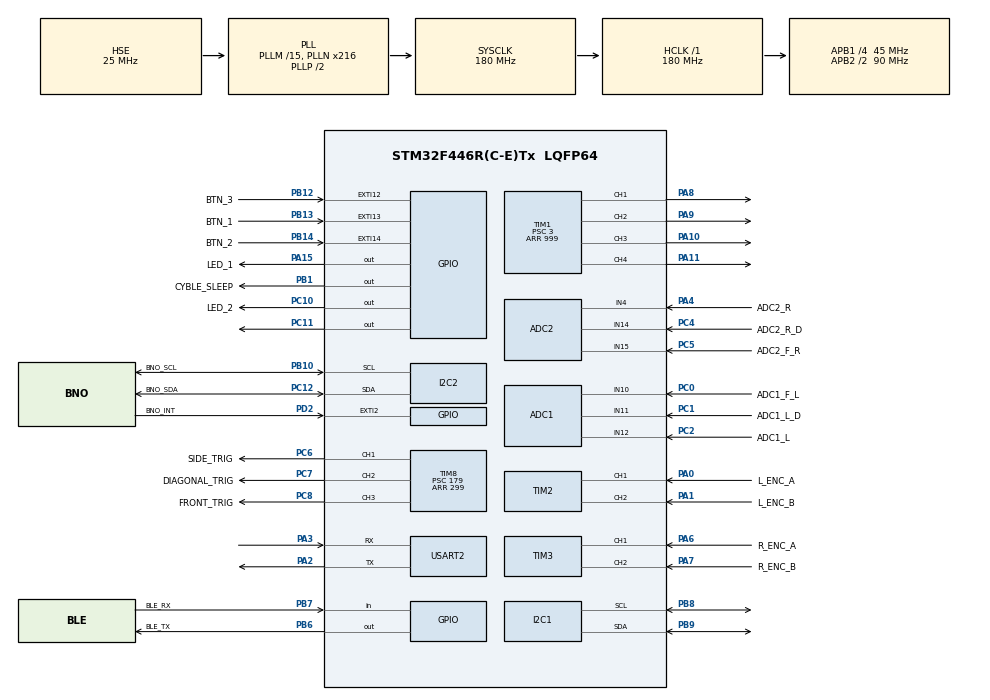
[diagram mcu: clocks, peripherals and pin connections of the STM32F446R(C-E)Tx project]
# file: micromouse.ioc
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ADC1.Channel-10\#ChannelRegularConversion=ADC_CHANNEL_11
ADC1.Channel-8\#ChannelRegularConversion=ADC_CHANNEL_10
ADC1.Channel-9\#ChannelRegularConversion=ADC_CHANNEL_12
ADC1.ClockPrescaler=ADC_CLOCK_SYNC_PCLK_DIV6
ADC1.DMAContinuousRequests=ENABLE
ADC1.DiscontinuousConvMode=ENABLE
ADC1.EOCSelection=ADC_EOC_SINGLE_CONV
ADC1.ExternalTrigConv=ADC_EXTERNALTRIGCONV_T8_TRGO
ADC1.Mode=ADC_DUALMODE_REGSIMULT
ADC1.NbrOfConversion=3
ADC1.NbrOfConversionFlag=1
ADC1.Rank-10\#ChannelRegularConversion=3
ADC1.Rank-8\#ChannelRegularConversion=1
ADC1.Rank-9\#ChannelRegularConversion=2
ADC1.SamplingTime-10\#ChannelRegularConversion=ADC_SAMPLETIME_15CYCLES
ADC1.SamplingTime-8\#ChannelRegularConversion=ADC_SAMPLETIME_15CYCLES
ADC1.SamplingTime-9\#ChannelRegularConversion=ADC_SAMPLETIME_15CYCLES
ADC1.master=1
ADC2.Channel-1\#ChannelRegularConversion=ADC_CHANNEL_15
ADC2.Channel-5\#ChannelRegularConversion=ADC_CHANNEL_4
ADC2.Channel-6\#ChannelRegularConversion=ADC_CHANNEL_14
ADC2.ClockPrescaler=ADC_CLOCK_SYNC_PCLK_DIV6
ADC2.DMAAccessMode=ADC_DMAACCESSMODE_2
ADC2.DiscontinuousConvMode=ENABLE
ADC2.EOCSelection=ADC_EOC_SINGLE_CONV
ADC2.Mode=ADC_DUALMODE_REGSIMULT
ADC2.NbrOfConversion=3
ADC2.NbrOfConversionFlag=1
ADC2.Rank-5\#ChannelRegularConversion=2
ADC2.Rank-6\#ChannelRegularConversion=3
ADC2.SamplingTime-1\#ChannelRegularConversion=ADC_SAMPLETIME_15CYCLES
ADC2.SamplingTime-5\#ChannelRegularConversion=ADC_SAMPLETIME_15CYCLES
ADC2.SamplingTime-6\#ChannelRegularConversion=ADC_SAMPLETIME_15CYCLES
Dma.ADC1.0.Direction=DMA_PERIPH_TO_MEMORY
Dma.ADC1.0.FIFOMode=DMA_FIFOMODE_DISABLE
Dma.ADC1.0.Instance=DMA2_Stream0
Dma.ADC1.0.MemDataAlignment=DMA_MDATAALIGN_WORD
Dma.ADC1.0.MemInc=DMA_MINC_ENABLE
Dma.ADC1.0.Mode=DMA_CIRCULAR
Dma.ADC1.0.PeriphDataAlignment=DMA_PDATAALIGN_WORD
Dma.ADC1.0.PeriphInc=DMA_PINC_DISABLE
Dma.ADC1.0.Priority=DMA_PRIORITY_VERY_HIGH
Dma.Request0=ADC1
Dma.Request1=TIM8_CH4/TRIG/COM
Dma.TIM8_CH4/TRIG/COM.1.Direction=DMA_MEMORY_TO_PERIPH
Dma.TIM8_CH4/TRIG/COM.1.FIFOMode=DMA_FIFOMODE_DISABLE
Dma.TIM8_CH4/TRIG/COM.1.Instance=DMA2_Stream7
Dma.TIM8_CH4/TRIG/COM.1.MemDataAlignment=DMA_MDATAALIGN_HALFWORD
Dma.TIM8_CH4/TRIG/COM.1.MemInc=DMA_MINC_ENABLE
Dma.TIM8_CH4/TRIG/COM.1.Mode=DMA_CIRCULAR
Dma.TIM8_CH4/TRIG/COM.1.PeriphDataAlignment=DMA_PDATAALIGN_HALFWORD
Dma.TIM8_CH4/TRIG/COM.1.PeriphInc=DMA_PINC_DISABLE
Dma.TIM8_CH4/TRIG/COM.1.Priority=DMA_PRIORITY_VERY_HIGH
FREERTOS.Queues01=LoggingQueue,16,uint16_t,0,Dynamic,NULL,NULL
FREERTOS.Tasks01=defaultTask,24,512,StartDefaultTask,Default,NULL,Dynamic,NULL,NULL;AlgorithimTask,48,1024,algorithimTask,Default,NULL,Static,algorithim_taskBuffer,algorithim_taskControlBlock;ControlTask,55,512,controlTask,Default,NULL,Static,MotorControlTaskBuffer,MotorControlTaskControlBlock;MotionTask,48,512,motionTask,Default,NULL,Static,PurepursuitTaskBuffer,PurepursuitTaskControlBlock;BnoTask,48,512,bnoTask,Default,NULL,Dynamic,NULL,NULL;HMITask,24,512,HMIConfigTask,Default,NULL,Dynamic,NULL,NULL;LoggerTask,16,512,loggerTask,Default,NULL,Dynamic,NULL,NULL
FREERTOS.configENABLE_FPU=1
I2C1.I2C_Mode=I2C_Fast
I2C2.I2C_Mode=I2C_Fast
Mcu.Family=STM32F4
Mcu.Name=STM32F446R(C-E)Tx
Mcu.Package=LQFP64
NVIC.DMA2_Stream0_IRQn=true\:5\:0\:false\:false\:true\:true\:false\:true\:true
NVIC.DMA2_Stream7_IRQn=true\:5\:0\:false\:false\:true\:true\:false\:true\:true
NVIC.EXTI15_10_IRQn=true\:5\:0\:false\:false\:true\:true\:true\:true\:true
NVIC.PriorityGroup=NVIC_PRIORITYGROUP_4
NVIC.TIM7_IRQn=true\:15\:0\:false\:false\:true\:false\:false\:true\:true
NVIC.TimeBase=TIM7_IRQn
NVIC.TimeBaseIP=TIM7
PA0-WKUP.GPIO_Label=L_ENC_A
PA0-WKUP.Signal=S_TIM2_CH1_ETR
PA1.GPIO_Label=L_ENC_B
PA1.Signal=S_TIM2_CH2
PA10.GPIO_ModeDefaultPP=GPIO_MODE_AF_PP
PA10.GPIO_PuPd=GPIO_NOPULL
PA10.GPIO_Speed=GPIO_SPEED_FREQ_LOW
PA10.Signal=S_TIM1_CH3
PA11.GPIO_ModeDefaultPP=GPIO_MODE_AF_PP
PA11.GPIO_PuPd=GPIO_NOPULL
PA11.GPIO_Speed=GPIO_SPEED_FREQ_LOW
PA11.Signal=S_TIM1_CH4
PA13.Mode=Serial_Wire
PA13.Signal=SYS_JTMS-SWDIO
PA14.Mode=Serial_Wire
PA14.Signal=SYS_JTCK-SWCLK
PA15.GPIO_Label=LED_1
PA15.Signal=GPIO_Output
PA2.Mode=Asynchronous
PA2.Signal=USART2_TX
PA3.Mode=Asynchronous
PA3.Signal=USART2_RX
PA4.GPIO_Label=ADC2_R
PA4.Signal=ADCx_IN4
PA6.GPIO_Label=R_ENC_A
PA6.GPIO_PuPd=GPIO_NOPULL
PA6.Signal=S_TIM3_CH1
PA7.GPIO_Label=R_ENC_B
PA7.GPIO_PuPd=GPIO_NOPULL
PA7.Signal=S_TIM3_CH2
PA8.GPIO_ModeDefaultPP=GPIO_MODE_AF_PP
PA8.GPIO_PuPd=GPIO_NOPULL
PA8.GPIO_Speed=GPIO_SPEED_FREQ_LOW
PA8.Signal=S_TIM1_CH1
PA9.GPIO_ModeDefaultPP=GPIO_MODE_AF_PP
PA9.GPIO_PuPd=GPIO_NOPULL
PA9.GPIO_Speed=GPIO_SPEED_FREQ_LOW
PA9.Signal=S_TIM1_CH2
PB1.GPIO_Label=CYBLE_SLEEP
PB1.Signal=GPIO_Output
PB10.GPIO_Label=BNO_SCL
PB10.Mode=I2C
PB10.Signal=I2C2_SCL
PB12.GPIO_Label=BTN_3
PB12.GPIO_ModeDefaultEXTI=GPIO_MODE_IT_FALLING
PB12.GPIO_PuPd=GPIO_PULLUP
PB12.Signal=GPXTI12
PB13.GPIO_Label=BTN_1
PB13.GPIO_ModeDefaultEXTI=GPIO_MODE_IT_FALLING
PB13.GPIO_PuPd=GPIO_PULLUP
PB13.Signal=GPXTI13
PB14.GPIO_Label=BTN_2
PB14.GPIO_ModeDefaultEXTI=GPIO_MODE_IT_FALLING
PB14.GPIO_PuPd=GPIO_PULLUP
PB14.Signal=GPXTI14
PB3.Signal=SYS_JTDO-SWO
PB6.GPIO_Label=BLE_TX
PB6.Signal=GPIO_Output
PB7.GPIO_Label=BLE_RX
PB7.Signal=GPIO_Input
PB8.Mode=I2C
PB8.Signal=I2C1_SCL
PB9.Mode=I2C
PB9.Signal=I2C1_SDA
PC0.GPIO_Label=ADC1_F_L
PC0.Signal=ADCx_IN10
PC1.GPIO_Label=ADC1_L_D
PC1.Signal=ADCx_IN11
PC10.GPIO_Label=LED_2
PC10.Signal=GPIO_Output
PC11.Signal=GPIO_Output
PC12.GPIO_Label=BNO_SDA
PC12.Mode=I2C
PC12.Signal=I2C2_SDA
PC2.GPIO_Label=ADC1_L
PC2.Signal=ADCx_IN12
PC4.GPIO_Label=ADC2_R_D
PC4.Signal=ADCx_IN14
PC5.GPIO_Label=ADC2_F_R
PC5.Signal=ADCx_IN15
PC6.GPIO_Label=SIDE_TRIG
PC6.Signal=S_TIM8_CH1
PC7.GPIO_Label=DIAGONAL_TRIG
PC7.Signal=S_TIM8_CH2
PC8.GPIO_Label=FRONT_TRIG
PC8.Signal=S_TIM8_CH3
PD2.GPIO_Label=BNO_INT
PD2.Signal=GPXTI2
PH0-OSC_IN.Mode=HSE-External-Oscillator
PH0-OSC_IN.Signal=RCC_OSC_IN
PH1-OSC_OUT.Mode=HSE-External-Oscillator
PH1-OSC_OUT.Signal=RCC_OSC_OUT
ProjectManager.HeapSize=0x200
ProjectManager.StackSize=0x400
ProjectManager.TargetToolchain=CMake
RCC.AHBFreq_Value=180000000
RCC.APB1CLKDivider=RCC_HCLK_DIV4
RCC.APB1Freq_Value=45000000
RCC.APB1TimFreq_Value=90000000
RCC.APB2CLKDivider=RCC_HCLK_DIV2
RCC.APB2Freq_Value=90000000
RCC.APB2TimFreq_Value=180000000
RCC.CortexFreq_Value=180000000
RCC.HCLKFreq_Value=180000000
RCC.HSE_VALUE=25000000
RCC.PLLM=15
RCC.PLLN=216
RCC.PLLSourceVirtual=RCC_PLLSOURCE_HSE
RCC.SYSCLKFreq_VALUE=180000000
RCC.SYSCLKSource=RCC_SYSCLKSOURCE_PLLCLK
RCC.USBFreq_Value=180000000
RCC.VCOOutputFreq_Value=360000000
SH.ADCx_IN10.0=ADC1_IN10,IN10
SH.ADCx_IN11.0=ADC1_IN11,IN11
SH.ADCx_IN12.0=ADC1_IN12,IN12
SH.ADCx_IN14.0=ADC2_IN14,IN14
SH.ADCx_IN15.0=ADC2_IN15,IN15
SH.ADCx_IN4.0=ADC2_IN4,IN4
SH.S_TIM1_CH1.0=TIM1_CH1,PWM Generation1 CH1
SH.S_TIM1_CH2.0=TIM1_CH2,PWM Generation2 CH2
SH.S_TIM1_CH3.0=TIM1_CH3,PWM Generation3 CH3
SH.S_TIM1_CH4.0=TIM1_CH4,PWM Generation4 CH4
SH.S_TIM2_CH1_ETR.0=TIM2_CH1,Encoder_Interface
SH.S_TIM2_CH2.0=TIM2_CH2,Encoder_Interface
SH.S_TIM3_CH1.0=TIM3_CH1,Encoder_Interface
SH.S_TIM3_CH2.0=TIM3_CH2,Encoder_Interface
SH.S_TIM8_CH1.0=TIM8_CH1,PWM Generation1 CH1
SH.S_TIM8_CH2.0=TIM8_CH2,PWM Generation2 CH2
SH.S_TIM8_CH3.0=TIM8_CH3,PWM Generation3 CH3
TIM1.AutoReloadPreload=TIM_AUTORELOAD_PRELOAD_ENABLE
TIM1.Channel-PWM\ Generation1\ CH1=TIM_CHANNEL_1
TIM1.Channel-PWM\ Generation2\ CH2=TIM_CHANNEL_2
TIM1.Channel-PWM\ Generation3\ CH3=TIM_CHANNEL_3
TIM1.Channel-PWM\ Generation4\ CH4=TIM_CHANNEL_4
TIM1.Period=999
TIM1.Prescaler=3
TIM2.EncoderMode=TIM_ENCODERMODE_TI12
TIM2.IC2Polarity=TIM_ICPOLARITY_FALLING
TIM3.EncoderMode=TIM_ENCODERMODE_TI12
TIM3.IC1Polarity=TIM_ICPOLARITY_FALLING
TIM3.IC2Polarity=TIM_ICPOLARITY_FALLING
TIM4.AutoReloadPreload=TIM_AUTORELOAD_PRELOAD_ENABLE
TIM4.Period=999
TIM4.Prescaler=89
TIM4.TIM_MasterOutputTrigger=TIM_TRGO_UPDATE
TIM4.TIM_MasterSlaveMode=TIM_MASTERSLAVEMODE_ENABLE
TIM5.Prescaler=89
TIM8.AutoReloadPreload=TIM_AUTORELOAD_PRELOAD_ENABLE
TIM8.Channel-PWM\ Generation1\ CH1=TIM_CHANNEL_1
TIM8.Channel-PWM\ Generation2\ CH2=TIM_CHANNEL_2
TIM8.Channel-PWM\ Generation3\ CH3=TIM_CHANNEL_3
TIM8.Channel-PWM\ Generation4\ No\ Output=TIM_CHANNEL_4
TIM8.OCMode_PWM-PWM\ Generation4\ No\ Output=TIM_OCMODE_PWM2
TIM8.Period=299
TIM8.Prescaler=179
TIM8.Pulse-PWM\ Generation4\ No\ Output=60
TIM8.TIM_MasterOutputTrigger=TIM_TRGO_OC4REF
TIM8.TIM_MasterSlaveMode=TIM_MASTERSLAVEMODE_ENABLE
USART2.VirtualMode=VM_ASYNC
VP_FREERTOS_VS_CMSIS_V2.Mode=CMSIS_V2
VP_SYS_VS_tim7.Mode=TIM7
VP_TIM4_VS_ClockSourceINT.Mode=Internal
VP_TIM5_VS_ClockSourceINT.Mode=Internal
VP_TIM8_VS_ClockSourceINT.Mode=Internal
VP_TIM8_VS_ClockSourceITR.Mode=TriggerSource_ITR2
VP_TIM8_VS_ControllerModeTrigger.Mode=Trigger Mode
VP_TIM8_VS_no_output4.Mode=PWM Generation4 No Output
board=custom

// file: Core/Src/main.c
/* USER CODE BEGIN Header */
/**
  ******************************************************************************
  * @file           : main.c
  * @brief          : Main program body
  ******************************************************************************
  * @attention
  *
  * Copyright (c) 2026 STMicroelectronics.
  * All rights reserved.
  *
  * This software is licensed under terms that can be found in the LICENSE file
  * in the root directory of this software component.
  * If no LICENSE file comes with this software, it is provided AS-IS.
  *
  ******************************************************************************
  */
/* USER CODE END Header */
#include "main.h"
#include "cmsis_os.h"
#include "adc.h"
#include "dma.h"
#include "i2c.h"
#include "tim.h"
#include "usart.h"
#include "gpio.h"

void SystemClock_Config(void);
void MX_FREERTOS_Init(void);

int main(void)
{

  /* MCU Configuration--------------------------------------------------------*/

  /* Reset of all peripherals, Initializes the Flash interface and the Systick. */
  HAL_Init();

  /* Configure the system clock */
  SystemClock_Config();

  /* Initialize all configured peripherals */
  MX_GPIO_Init();
  MX_DMA_Init();
  MX_I2C1_Init();
  MX_I2C2_Init();
  MX_TIM2_Init();
  MX_TIM3_Init();
  MX_TIM4_Init();
  MX_USART2_UART_Init();
  MX_TIM8_Init();
  MX_TIM1_Init();
  MX_ADC1_Init();
  MX_ADC2_Init();
  MX_TIM5_Init();
  /* USER CODE BEGIN 2 */
  app_main();
  /* USER CODE END 2 */

  /* Init scheduler */
  osKernelInitialize();  /* Call init function for freertos objects (in cmsis_os2.c) */
  MX_FREERTOS_Init();

  /* Start scheduler */
  osKernelStart();

  /* We should never get here as control is now taken by the scheduler */

  /* Infinite loop */
  while (1)
  {

  }
}

void SystemClock_Config(void)
{
  RCC_OscInitTypeDef RCC_OscInitStruct = {0};
  RCC_ClkInitTypeDef RCC_ClkInitStruct = {0};

  /** Configure the main internal regulator output voltage
  */
  __HAL_RCC_PWR_CLK_ENABLE();
  __HAL_PWR_VOLTAGESCALING_CONFIG(PWR_REGULATOR_VOLTAGE_SCALE1);

  /** Initializes the RCC Oscillators according to the specified parameters
  * in the RCC_OscInitTypeDef structure.
  */
  RCC_OscInitStruct.OscillatorType = RCC_OSCILLATORTYPE_HSE;
  RCC_OscInitStruct.HSEState = RCC_HSE_ON;
  RCC_OscInitStruct.PLL.PLLState = RCC_PLL_ON;
  RCC_OscInitStruct.PLL.PLLSource = RCC_PLLSOURCE_HSE;
  RCC_OscInitStruct.PLL.PLLM = 15;
  RCC_OscInitStruct.PLL.PLLN = 216;
  RCC_OscInitStruct.PLL.PLLP = RCC_PLLP_DIV2;
  RCC_OscInitStruct.PLL.PLLQ = 2;
  RCC_OscInitStruct.PLL.PLLR = 2;
  if (HAL_RCC_OscConfig(&RCC_OscInitStruct) != HAL_OK)
  {
    Error_Handler();
  }

  /** Activate the Over-Drive mode
  */
  if (HAL_PWREx_EnableOverDrive() != HAL_OK)
  {
    Error_Handler();
  }

  /** Initializes the CPU, AHB and APB buses clocks
  */
  RCC_ClkInitStruct.ClockType = RCC_CLOCKTYPE_HCLK|RCC_CLOCKTYPE_SYSCLK
                              |RCC_CLOCKTYPE_PCLK1|RCC_CLOCKTYPE_PCLK2;
  RCC_ClkInitStruct.SYSCLKSource = RCC_SYSCLKSOURCE_PLLCLK;
  RCC_ClkInitStruct.AHBCLKDivider = RCC_SYSCLK_DIV1;
  RCC_ClkInitStruct.APB1CLKDivider = RCC_HCLK_DIV4;
  RCC_ClkInitStruct.APB2CLKDivider = RCC_HCLK_DIV2;

  if (HAL_RCC_ClockConfig(&RCC_ClkInitStruct, FLASH_LATENCY_5) != HAL_OK)
  {
    Error_Handler();
  }
}

void HAL_TIM_PeriodElapsedCallback(TIM_HandleTypeDef *htim)
{
  if (htim->Instance == TIM7)
  {
    HAL_IncTick();
  }
}

void Error_Handler(void)
{
  __disable_irq();
  while (1)
  {
  }
}

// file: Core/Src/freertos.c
/* USER CODE BEGIN Header */
/**
 ******************************************************************************
 * File Name          : freertos.c
 * Description        : Code for freertos applications
 ******************************************************************************
 * @attention
 *
 * Copyright (c) 2026 STMicroelectronics.
 * All rights reserved.
 *
 * This software is licensed under terms that can be found in the LICENSE file
 * in the root directory of this software component.
 * If no LICENSE file comes with this software, it is provided AS-IS.
 *
 ******************************************************************************
 */
/* USER CODE END Header */

#include "FreeRTOS.h"
#include "task.h"
#include "main.h"
#include "cmsis_os.h"

/* USER CODE BEGIN Includes */
#include "freertos.h"
#include "usart.h"
#include <stdarg.h>
#include <stdio.h>
#include <string.h>
/* USER CODE END Includes */

typedef StaticTask_t osStaticThreadDef_t;
/* USER CODE BEGIN PTD */

/* Maximum length of a single log message, storage for the "thing to be
 * printed" that is queued from the calling task up to the LoggerTask. */
#define LOG_MSG_MAX_LEN 64U

/* One entry stored in LoggingQueueHandle. Kept as a plain fixed-size struct
 * (no pointers) so producer tasks can safely queue-by-copy and immediately
 * reuse their own stack buffer. */
typedef struct
{
  char message[LOG_MSG_MAX_LEN];
} LogMessage_t;

/* One row of the "clipboard" that lets Logger_Print() rate-limit each
 * calling task independently, at that task's own requested frequency. */
typedef struct
{
  osThreadId_t taskId;      /* which task this row belongs to */
  uint32_t periodMs;        /* that task's own requested frequency */
  uint32_t nextAllowedTick; /* earliest tick this task is allowed to print again */
} LoggerSource_t;

/* USER CODE END PTD */

/* USER CODE BEGIN PD */

#define LOGGER_QUEUE_LENGTH 16U       /* entries held in LoggingQueue */
#define LOGGER_MAX_SOURCES 8U         /* distinct tasks Logger_Print can track at once */
#define LOGGER_UART_TX_TIMEOUT_MS 20U /* HAL_UART_Transmit timeout */

/* CYBLE_SLEEP_Pin drives the Bluetooth (Cypress BLE) module's sleep input.
 * NOTE: polarity assumed active-high = sleep, active-low = awake based on
 * the default GPIO_PIN_RESET init state in gpio.c. Verify against your
 * module's datasheet and flip these two macros if it turns out inverted. */
#define BLE_SLEEP_ASSERT() HAL_GPIO_WritePin(CYBLE_SLEEP_GPIO_Port, CYBLE_SLEEP_Pin, GPIO_PIN_SET)
#define BLE_SLEEP_RELEASE() HAL_GPIO_WritePin(CYBLE_SLEEP_GPIO_Port, CYBLE_SLEEP_Pin, GPIO_PIN_RESET)

/* USER CODE END PD */

/* USER CODE BEGIN Variables */

/* Guards loggerActiveOutput / the UART peripherals it maps to, so
 * Logger_SetOutput() can't race with LoggerTask mid-transmit. */
osMutexId_t LoggerConfigMutexHandle;

/* Guards the loggerSources[] table below, since multiple producer tasks
 * can call Logger_Print() concurrently. */
osMutexId_t LoggerSourcesMutexHandle;

static volatile LogOutput_t loggerActiveOutput = LOG_OUTPUT_STLINK;
static volatile uint32_t loggerDroppedCount = 0U;

/* The "clipboard": one row per distinct task that has ever called
 * Logger_Print(), so each task's own requested frequency is remembered
 * and enforced independently of every other task's. */
static LoggerSource_t loggerSources[LOGGER_MAX_SOURCES];
static uint8_t loggerSourceCount = 0U;

/* USER CODE END Variables */
/* Definitions for defaultTask */
osThreadId_t defaultTaskHandle;
const osThreadAttr_t defaultTask_attributes = {
  .name = "defaultTask",
  .stack_size = 512 * 4,
  .priority = (osPriority_t) osPriorityNormal,
};
/* Definitions for AlgorithimTask */
osThreadId_t AlgorithimTaskHandle;
uint32_t algorithim_taskBuffer[ 1024 ];
osStaticThreadDef_t algorithim_taskControlBlock;
const osThreadAttr_t AlgorithimTask_attributes = {
  .name = "AlgorithimTask",
  .cb_mem = &algorithim_taskControlBlock,
  .cb_size = sizeof(algorithim_taskControlBlock),
  .stack_mem = &algorithim_taskBuffer[0],
  .stack_size = sizeof(algorithim_taskBuffer),
  .priority = (osPriority_t) osPriorityRealtime,
};
/* Definitions for ControlTask */
osThreadId_t ControlTaskHandle;
uint32_t MotorControlTaskBuffer[ 512 ];
osStaticThreadDef_t MotorControlTaskControlBlock;
const osThreadAttr_t ControlTask_attributes = {
  .name = "ControlTask",
  .cb_mem = &MotorControlTaskControlBlock,
  .cb_size = sizeof(MotorControlTaskControlBlock),
  .stack_mem = &MotorControlTaskBuffer[0],
  .stack_size = sizeof(MotorControlTaskBuffer),
  .priority = (osPriority_t) osPriorityRealtime7,
};
/* Definitions for MotionTask */
osThreadId_t MotionTaskHandle;
uint32_t PurepursuitTaskBuffer[ 512 ];
osStaticThreadDef_t PurepursuitTaskControlBlock;
const osThreadAttr_t MotionTask_attributes = {
  .name = "MotionTask",
  .cb_mem = &PurepursuitTaskControlBlock,
  .cb_size = sizeof(PurepursuitTaskControlBlock),
  .stack_mem = &PurepursuitTaskBuffer[0],
  .stack_size = sizeof(PurepursuitTaskBuffer),
  .priority = (osPriority_t) osPriorityRealtime,
};
/* Definitions for BnoTask */
osThreadId_t BnoTaskHandle;
const osThreadAttr_t BnoTask_attributes = {
  .name = "BnoTask",
  .stack_size = 512 * 4,
  .priority = (osPriority_t) osPriorityRealtime,
};
/* Definitions for HMITask */
osThreadId_t HMITaskHandle;
const osThreadAttr_t HMITask_attributes = {
  .name = "HMITask",
  .stack_size = 512 * 4,
  .priority = (osPriority_t) osPriorityNormal,
};
/* Definitions for LoggerTask */
osThreadId_t LoggerTaskHandle;
const osThreadAttr_t LoggerTask_attributes = {
  .name = "LoggerTask",
  .stack_size = 512 * 4,
  .priority = (osPriority_t) osPriorityBelowNormal,
};
/* Definitions for LoggingQueue */
osMessageQueueId_t LoggingQueueHandle;
const osMessageQueueAttr_t LoggingQueue_attributes = {
  .name = "LoggingQueue"
};

/* USER CODE BEGIN FunctionPrototypes */

static void Logger_ActivateOutput(LogOutput_t output);
static void Logger_DeactivateOutput(LogOutput_t output);
static void Logger_TransmitMessage(LogOutput_t output, const LogMessage_t *msg);
static LoggerSource_t *Logger_FindOrCreateSource(osThreadId_t taskId, uint32_t period_ms);

/* USER CODE END FunctionPrototypes */

void StartDefaultTask(void *argument);
void algorithimTask(void *argument);
void controlTask(void *argument);
void motionTask(void *argument);
void bnoTask(void *argument);
void HMIConfigTask(void *argument);
void loggerTask(void *argument);

void MX_FREERTOS_Init(void); /* (MISRA C 2004 rule 8.1) */

void MX_FREERTOS_Init(void) {

  /* USER CODE BEGIN RTOS_MUTEX */
  /* add mutexes, ... */
  LoggerConfigMutexHandle = osMutexNew(NULL);
  LoggerSourcesMutexHandle = osMutexNew(NULL);
  /* USER CODE END RTOS_MUTEX */

  /* Create the queue(s) */
  /* creation of LoggingQueue */
  LoggingQueueHandle = osMessageQueueNew (16, sizeof(uint16_t), &LoggingQueue_attributes);

  /* Create the thread(s) */
  /* creation of defaultTask */
  defaultTaskHandle = osThreadNew(StartDefaultTask, NULL, &defaultTask_attributes);

  /* creation of AlgorithimTask */
  AlgorithimTaskHandle = osThreadNew(algorithimTask, NULL, &AlgorithimTask_attributes);

  /* creation of ControlTask */
  ControlTaskHandle = osThreadNew(controlTask, NULL, &ControlTask_attributes);

  /* creation of MotionTask */
  MotionTaskHandle = osThreadNew(motionTask, NULL, &MotionTask_attributes);

  /* creation of BnoTask */
  BnoTaskHandle = osThreadNew(bnoTask, NULL, &BnoTask_attributes);

  /* creation of HMITask */
  HMITaskHandle = osThreadNew(HMIConfigTask, NULL, &HMITask_attributes);

  /* creation of LoggerTask */
  LoggerTaskHandle = osThreadNew(loggerTask, NULL, &LoggerTask_attributes);

}

void StartDefaultTask(void *argument)
{
  /* USER CODE BEGIN StartDefaultTask */
  StartDefaultTask_run(argument);
  /* USER CODE END StartDefaultTask */
}

void algorithimTask(void *argument)
{
  /* USER CODE BEGIN algorithimTask */
  // algorithmTask_run(argument);
  for (;;)
    ulTaskNotifyTake(pdTRUE, portMAX_DELAY);
  /* USER CODE END algorithimTask */
}

void controlTask(void *argument)
{
  /* USER CODE BEGIN controlTask */
  controlTask_run(argument);
  /* USER CODE END controlTask */
}

void motionTask(void *argument)
{
  /* USER CODE BEGIN motionTask */
  motionTask_run(argument);
  // for (;;)
  // {
  //   // ulTaskNotifyTake(pdTRUE, portMAX_DELAY);
  //   // vTaskDelayUntil(&last, pdMS_TO_TICKS(5));
  //   // motor_speeds(100, 100);
  // }
  /* USER CODE END motionTask */
}

void bnoTask(void *argument)
{
  /* USER CODE BEGIN bnoTask */
  bnoTask_run(argument);
  // for (;;)
  //   ulTaskNotifyTake(pdTRUE, portMAX_DELAY);
  /* USER CODE END bnoTask */
}

void HMIConfigTask(void *argument)
{
  /* USER CODE BEGIN HMIConfigTask */
  /* Infinite loop */
   HMIConfigTask_run(argument);
  /* USER CODE END HMIConfigTask */
}

void loggerTask(void *argument)
{
  /* USER CODE BEGIN loggerTask */
  loggerTask_run(argument);
  // for (;;)
  //   ulTaskNotifyTake(pdTRUE, portMAX_DELAY);
  /* USER CODE END loggerTask */
}

/* USER CODE BEGIN Application */

/**
 * @brief  Powers up / wakes the given output peripheral.
 * @note   USB is stubbed out: this project has no USB_DEVICE middleware
 *         yet (no CDC class configured in CubeMX). Add USB_OTG_FS +
 *         USB_DEVICE(CDC) via CubeMX, generate MX_USB_DEVICE_Init(), then
 *         call it here.
 */
/*static*/ void Logger_ActivateOutput(LogOutput_t output)
{
  switch (output)
  {
  case LOG_OUTPUT_STLINK:
    MX_USART2_UART_Init();
    break;

  case LOG_OUTPUT_BLUETOOTH:
    MX_UART4_Init();
    BLE_SLEEP_RELEASE();
    break;

  case LOG_OUTPUT_USB:
    /* TODO: MX_USB_DEVICE_Init(); once USB CDC is added to the project */
    break;

  default:
    break;
  }
}

/**
 * @brief  Puts the given output peripheral to sleep / tears it down so it
 *         is not left driving its lines while another output is selected.
 */
/*static*/ void Logger_DeactivateOutput(LogOutput_t output)
{
  switch (output)
  {
  case LOG_OUTPUT_STLINK:
    HAL_UART_DeInit(&huart2);
    break;

  case LOG_OUTPUT_BLUETOOTH:
    //  BLE_SLEEP_ASSERT();
    //  HAL_UART_DeInit(&huart4);
    break;

  case LOG_OUTPUT_USB:
    /* TODO: USB CDC not yet configured in this project. */
    break;

  default:
    break;
  }
}

/**
 * @brief  Writes one already-formatted log entry out over the given output.
 */
/*static*/ void Logger_TransmitMessage(LogOutput_t output, const LogMessage_t *msg)
{
  uint16_t len = (uint16_t)strnlen(msg->message, LOG_MSG_MAX_LEN);

  if (len == 0U)
  {
    return;
  }

  switch (output)
  {
  case LOG_OUTPUT_STLINK:
    HAL_UART_Transmit(&huart2, (uint8_t *)msg->message, len, LOGGER_UART_TX_TIMEOUT_MS);
    break;

  case LOG_OUTPUT_BLUETOOTH:
    // HAL_UART_Transmit(&huart4, (uint8_t *)msg->message, len, LOGGER_UART_TX_TIMEOUT_MS);
    break;

  case LOG_OUTPUT_USB:
    /* TODO: CDC_Transmit_FS((uint8_t *)msg->message, len); once USB CDC exists */
    break;

  default:
    break;
  }
}

/**
 * @brief  Selects which physical interface debug logs are printed over.
 *         The two outputs not selected are put to sleep / torn down so
 *         only one interface is ever active at a time.
 * @param  output One of LOG_OUTPUT_USB / LOG_OUTPUT_STLINK / LOG_OUTPUT_BLUETOOTH.
 */
void Logger_SetOutput(LogOutput_t output)
{
  if (output >= LOG_OUTPUT_COUNT)
  {
    return;
  }

  osMutexAcquire(LoggerConfigMutexHandle, osWaitForever);

  if (output != loggerActiveOutput)
  {
    Logger_DeactivateOutput(loggerActiveOutput);
    Logger_ActivateOutput(output);
    loggerActiveOutput = output;
  }

  osMutexRelease(LoggerConfigMutexHandle);
}

/**
 * @brief  Finds this task's row in the source table, creating one on its
 *         first-ever call. This is the "clipboard lookup": it's how
 *         Logger_Print() tells different calling tasks apart.
 * @retval Pointer to the task's row, or NULL if the table is full.
 */
/*static*/ LoggerSource_t *Logger_FindOrCreateSource(osThreadId_t taskId, uint32_t period_ms)
{
  for (uint8_t i = 0U; i < loggerSourceCount; i++)
  {
    if (loggerSources[i].taskId == taskId)
    {
      return &loggerSources[i];
    }
  }

  if (loggerSourceCount >= LOGGER_MAX_SOURCES)
  {
    return NULL;
  }

  loggerSources[loggerSourceCount].taskId = taskId;
  loggerSources[loggerSourceCount].periodMs = period_ms;
  loggerSources[loggerSourceCount].nextAllowedTick = osKernelGetTickCount(); /* allow immediately, first call */
  loggerSourceCount++;

  return &loggerSources[loggerSourceCount - 1U];
}

/**
 * @brief  Queues one printf-style debug message for LoggerTask to print,
 *         rate-limited to the CALLING TASK's own requested frequency.
 *         Each task gets its own independent cooldown - Task A asking for
 *         100ms and Task B asking for 200ms don't affect each other.
 *         Non-blocking by design: a stalled/full logger must never hold up
 *         a real-time task (Algorithm/Control/Motion) that calls this.
 * @param  period_ms This calling task's own print frequency, in ms.
 * @param  format printf-style format string, result truncated to LOG_MSG_MAX_LEN-1.
 * @retval osOK on success, osErrorParameter on bad args, osErrorResource if
 *         dropped (either too soon for this task's own frequency, or the
 *         queue was full - see Logger_GetDroppedCount for the latter).
 */
osStatus_t Logger_Print(uint32_t period_ms, const char *format, ...)
{
  LogMessage_t msg;
  va_list args;
  osThreadId_t caller;
  LoggerSource_t *src;
  uint32_t now;
  uint8_t allowed;
  osStatus_t status;

  if ((format == NULL) || (period_ms == 0U))
  {
    return osErrorParameter;
  }

  caller = osThreadGetId();
  now = osKernelGetTickCount();
  allowed = 0U;

  osMutexAcquire(LoggerSourcesMutexHandle, osWaitForever);

  src = Logger_FindOrCreateSource(caller, period_ms);
  if (src == NULL)
  {
    /* Source table full (more than LOGGER_MAX_SOURCES distinct callers):
     * fall back to always allowing this task through rather than
     * silently losing it forever. Bump LOGGER_MAX_SOURCES if this
     * happens often. */
    allowed = 1U;
  }
  else
  {
    src->periodMs = period_ms; /* caller may have changed its own rate */

    if (now >= src->nextAllowedTick)
    {
      allowed = 1U;
      src->nextAllowedTick = now + period_ms;
    }
  }

  osMutexRelease(LoggerSourcesMutexHandle);

  if (allowed == 0U)
  {
    /* Too soon for THIS caller's own frequency - drop it, not an error,
     * just this task's cooldown hasn't expired yet. */
    return osErrorResource;
  }

  va_start(args, format);
  vsnprintf(msg.message, LOG_MSG_MAX_LEN, format, args);
  va_end(args);

  status = osMessageQueuePut(LoggingQueueHandle, &msg, 0U, 0U);
  if (status != osOK)
  {
    loggerDroppedCount++;
  }

  return status;
}

/**
 * @brief  Number of log messages dropped because the queue was full,
 *         i.e. producers are outrunning the configured print frequency.
 */
uint32_t Logger_GetDroppedCount(void)
{
  return loggerDroppedCount;
}

/* USER CODE END Application */
